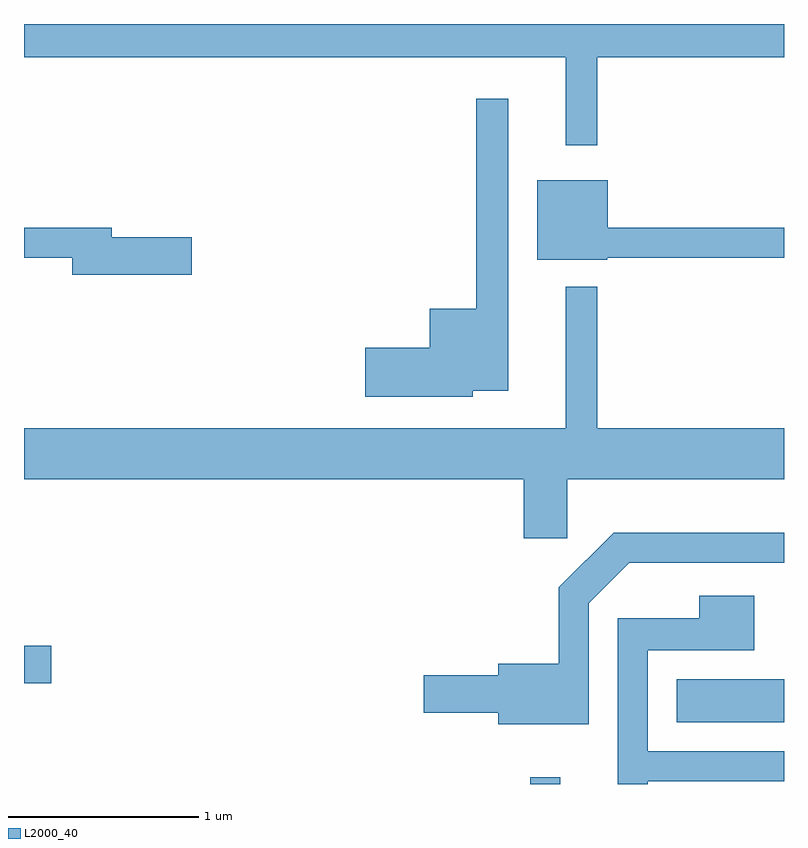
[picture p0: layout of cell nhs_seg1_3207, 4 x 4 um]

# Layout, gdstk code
import gdstk
lib = gdstk.Library(unit=1e-6, precision=1e-09)
def R(c, l, rs):  # rectangles x0, y0, x1, y1
    for r in rs: c.add(gdstk.rectangle(r[:2], r[2:], *l))
def P(c, l, *ps):  # polygons
    for p in ps: c.add(gdstk.Polygon(p, *l))
L2000_40 = (2000, 40)

nhs_seg1_3207 = lib.new_cell('nhs_seg1_3207')
R(nhs_seg1_3207, L2000_40, [(284.276,935.712,284.434,935.748), (285.046,936.036,285.611,936.264), (281.611,936.241,281.754,936.439)])
P(nhs_seg1_3207, L2000_40, [(284.629,939.536),(285.611,939.536),(285.611,939.712),(281.611,939.712),(281.611,939.536),(284.461,939.536),(284.461,939.073),(284.629,939.073)],
  [(283.974,937.781),(284.159,937.781),(284.159,939.318),(283.991,939.318),(283.991,938.214),(283.746,938.214),(283.746,938.009),(283.406,938.009),(283.406,937.751),(283.974,937.751)],
  [(284.68,938.481),(285.611,938.481),(285.611,938.639),(284.684,938.639),(284.684,938.889),(284.311,938.889),(284.311,938.471),(284.68,938.471)],
  [(282.494,938.589),(282.074,938.589),(282.074,938.639),(281.611,938.639),(281.611,938.481),(281.866,938.481),(281.866,938.391),(282.494,938.391)],
  [(284.469,937.316),(285.611,937.316),(285.611,937.584),(284.629,937.584),(284.629,938.328),(284.461,938.328),(284.461,937.584),(281.611,937.584),(281.611,937.316),(284.241,937.316),(284.241,937.006),(284.469,937.006)],
  [(284.584,936.664),(284.797,936.876),(285.611,936.876),(285.611,937.034),(284.714,937.034),(284.426,936.747),(284.426,936.344),(284.106,936.344),(284.106,936.284),(283.716,936.284),(283.716,936.086),(284.106,936.086),(284.106,936.026),(284.584,936.026)],
  [(284.894,935.726),(285.611,935.726),(285.611,935.884),(284.894,935.884),(284.894,936.416),(285.454,936.416),(285.454,936.704),(285.166,936.704),(285.166,936.584),(284.736,936.584),(284.736,935.712),(284.894,935.712)])

lib.write_gds('nhs_seg1_3207.gds')
